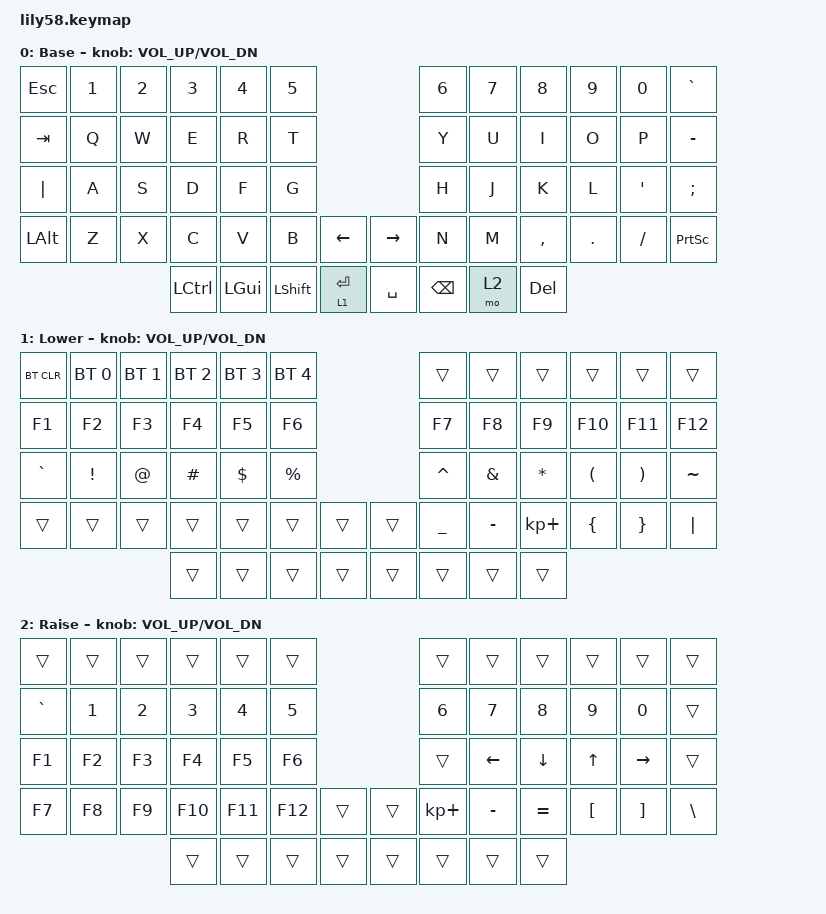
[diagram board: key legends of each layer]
/*
 * Copyright (c) 2020 The ZMK Contributors
 *
 * SPDX-License-Identifier: MIT
 */

#include <behaviors.dtsi>
#include <dt-bindings/zmk/bt.h>
#include <dt-bindings/zmk/keys.h>

/ {
    keymap {
        compatible = "zmk,keymap";

        default_layer {
            // ------------------------------------------------------------------------------------------------------------
            // |  ESC  |  1  |  2  |  3   |  4   |  5   |                   |  6   |  7    |  8    |  9   |   0   |   `   |
            // |  TAB  |  Q  |  W  |  E   |  R   |  T   |                   |  Y   |  U    |  I    |  O   |   P   |   -   |
            // |  PIPE |  A  |  S  |  D   |  F   |  G   |                   |  H   |  J    |  K    |  L   |   ;   |   '   |
            // | LEFT_ALT |  Z  |  X  |  C   |  V   |  B   |   "["  |  |  "]"  |  N   |  M    |  ,    |  .   |   /   | PRINTSCREEN |
            //                     | CTRL  | GUI  | LEFT_SHIFT|  LOWER RETURN |  | SPACE | RAISE| BSPC  | DEL   |

            display-name = "Base";
            bindings = <
&kp ESCAPE    &kp N1  &kp N2  &kp N3            &kp N4    &kp N5                                             &kp N6         &kp N7  &kp N8     &kp N9   &kp N0    &kp GRAVE
&kp TAB       &kp Q   &kp W   &kp E             &kp R     &kp T                                              &kp Y          &kp U   &kp I      &kp O    &kp P     &kp MINUS
&kp PIPE      &kp A   &kp S   &kp D             &kp F     &kp G                                              &kp H          &kp J   &kp K      &kp L    &kp APOS  &kp SEMI
&kp LEFT_ALT  &kp Z   &kp X   &kp C             &kp V     &kp B           &kp LEFT_ARROW    &kp RIGHT_ARROW  &kp N          &kp M   &kp COMMA  &kp DOT  &kp FSLH  &kp PRINTSCREEN
                              &kp LEFT_CONTROL  &kp LGUI  &kp LEFT_SHIFT  &lt 1 RETURN      &kp SPACE        &kp BACKSPACE  &mo 2   &kp DEL
            >;

            sensor-bindings = <&inc_dec_kp C_VOL_UP C_VOL_DN>;
        };

        lower_layer {
            // ------------------------------------------------------------------------------------------------------------
            // | BTCLR | BT1 | BT2 |  BT3 |  BT4 |  BT5 |                   |      |       |       |      |       |       |
            // |  F1   |  F2 |  F3 |  F4  |  F5  |  F6  |                   |  F7  |  F8   |  F9   |  F10 |  F11  |  F12  |
            // |   `   |  !  |  @  |  #   |  $   |  %   |                   |  ^   |  &    |  *    |  (   |   )   |   ~   |
            // |       |     |     |      |      |      |        |  |       |      |  _    |  +    |  {   |   }   |  "|"  |
            //                     |      |      |      |        |  |       |      |       |       |

            display-name = "Lower";
            bindings = <
&bt BT_CLR  &bt BT_SEL 0  &bt BT_SEL 1  &bt BT_SEL 2  &bt BT_SEL 3  &bt BT_SEL 4                    &trans     &trans     &trans       &trans    &trans    &trans
&kp F1      &kp F2        &kp F3        &kp F4        &kp F5        &kp F6                          &kp F7     &kp F8     &kp F9       &kp F10   &kp F11   &kp F12
&kp GRAVE   &kp EXCL      &kp AT        &kp HASH      &kp DOLLAR    &kp PRCNT                       &kp CARET  &kp AMPS   &kp STAR     &kp LPAR  &kp RPAR  &kp TILDE
&trans      &trans        &trans        &trans        &trans        &trans        &trans    &trans  &kp UNDER  &kp MINUS  &kp KP_PLUS  &kp LBRC  &kp RBRC  &kp PIPE
                                        &trans        &trans        &trans        &trans    &trans  &trans     &trans     &trans
            >;

            sensor-bindings = <&inc_dec_kp C_VOL_UP C_VOL_DN>;
        };

        raise_layer {
            // ------------------------------------------------------------------------------------------------------------
            // |       |     |     |      |      |      |                   |      |       |       |      |       |       |
            // |   `   |  1  |  2  |  3   |  4   |  5   |                   |  6   |   7   |   8   |  9   |   0   |       |
            // |   F1  |  F2 |  F3 |  F4  |  F5  |  F6  |                   |      |   <-  |   v   |  ^   |  ->   |       |
            // |   F7  |  F8 |  F9 |  F10 |  F11 |  F12 |        |  |       |  +   |   -   |   =   |  [   |   ]   |   \   |
            //                     |      |      |      |        |  |       |      |       |       |

            display-name = "Raise";
            bindings = <
&trans     &trans  &trans  &trans   &trans   &trans                     &trans       &trans     &trans     &trans    &trans     &trans
&kp GRAVE  &kp N1  &kp N2  &kp N3   &kp N4   &kp N5                     &kp N6       &kp N7     &kp N8     &kp N9    &kp N0     &trans
&kp F1     &kp F2  &kp F3  &kp F4   &kp F5   &kp F6                     &trans       &kp LEFT   &kp DOWN   &kp UP    &kp RIGHT  &trans
&kp F7     &kp F8  &kp F9  &kp F10  &kp F11  &kp F12  &trans    &trans  &kp KP_PLUS  &kp MINUS  &kp EQUAL  &kp LBKT  &kp RBKT   &kp BSLH
                           &trans   &trans   &trans   &trans    &trans  &trans       &trans     &trans
            >;

            sensor-bindings = <&inc_dec_kp C_VOL_UP C_VOL_DN>;
        };

        extra_1 { status = "reserved"; };

        extra_2 { status = "reserved"; };

        extra_3 { status = "reserved"; };
    };
};
